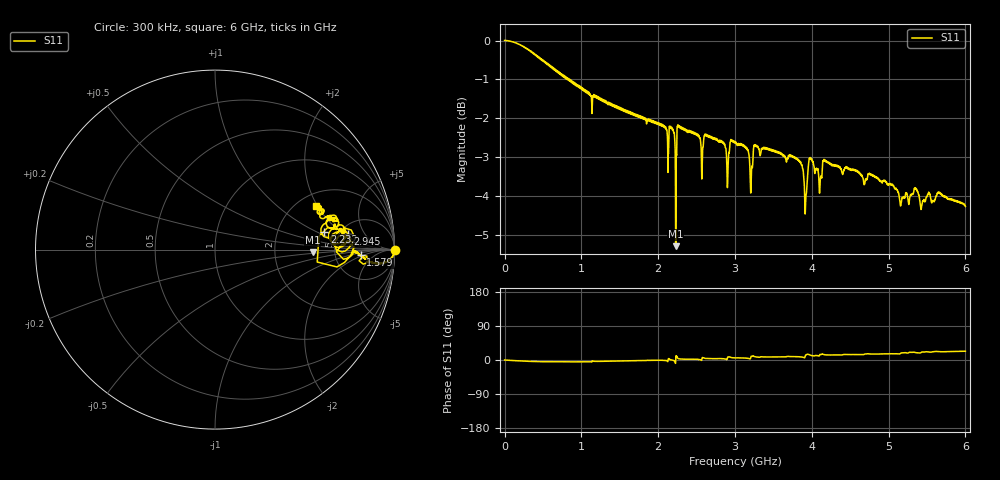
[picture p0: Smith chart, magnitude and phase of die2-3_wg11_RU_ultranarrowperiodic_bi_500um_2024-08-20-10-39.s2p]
!Keysight Technologies,P9374A,MY57304198,A.17.20.09
!Date: Tuesday, August 20, 2024 10:39:19
!Correction: S11(C  1-Port  )
!S21(C  1-Port  )
!S12(Off)
!S22(Off)
!S2P File: Measurements: S11, S21, S12, S22:
# Hz S  dB  R 50
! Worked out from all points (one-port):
!   6000 points, 300 kHz to 6 GHz, reference 50 ohm
!   lowest |S11| = -5.3 dB at 2.228 GHz (marker M1), VSWR 3.38, Z = 169 - j7.18 ohm
!   |S11| at or under -10 dB: nowhere
!   S11 on the Smith chart (normalised r, x): 300 kHz: open; 1.579 GHz: 9.32, -1.76; 2.232 GHz: 3.81, +1.22; 2.945 GHz: 5.88, +2.33; 6 GHz: 2.51, +1.93
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300000  0.00 -0.0  -200.00 45.0  -200.00 45.0  -200.00 45.0
4.153484e8  -0.38 -4.1  -200.00 45.0  -200.00 45.0  -200.00 45.0
1.000417e9  -1.21 -4.5  -200.00 45.0  -200.00 45.0  -200.00 45.0
1.579484e9  -1.81 -2.3  -200.00 45.0  -200.00 45.0  -200.00 45.0
2.000533e9  -2.12 -0.7  -200.00 45.0  -200.00 45.0  -200.00 45.0
2.158552e9  -2.23 0.8  -200.00 45.0  -200.00 45.0  -200.00 45.0
2.197556e9  -2.34 -0.9  -200.00 45.0  -200.00 45.0  -200.00 45.0
2.22756e9  -5.30 -1.6  -200.00 45.0  -200.00 45.0  -200.00 45.0
2.23156e9  -4.19 9.3  -200.00 45.0  -200.00 45.0  -200.00 45.0
2.278566e9  -2.24 2.9  -200.00 45.0  -200.00 45.0  -200.00 45.0
2.870635e9  -2.72 2.8  -200.00 45.0  -200.00 45.0  -200.00 45.0
2.944644e9  -2.56 6.8  -200.00 45.0  -200.00 45.0  -200.00 45.0
3.00065e9  -2.63 5.6  -200.00 45.0  -200.00 45.0  -200.00 45.0
3.208674e9  -3.80 9.0  -200.00 45.0  -200.00 45.0  -200.00 45.0
3.273682e9  -2.73 8.1  -200.00 45.0  -200.00 45.0  -200.00 45.0
3.815745e9  -3.08 8.7  -200.00 45.0  -200.00 45.0  -200.00 45.0
3.884753e9  -3.33 7.3  -200.00 45.0  -200.00 45.0  -200.00 45.0
3.923758e9  -4.00 13.3  -200.00 45.0  -200.00 45.0  -200.00 45.0
4.000767e9  -3.07 11.6  -200.00 45.0  -200.00 45.0  -200.00 45.0
4.109779e9  -3.61 14.8  -200.00 45.0  -200.00 45.0  -200.00 45.0
5.000883e9  -3.71 16.5  -200.00 45.0  -200.00 45.0  -200.00 45.0
6e9  -4.27 23.2  -200.00 45.0  -200.00 45.0  -200.00 45.0
